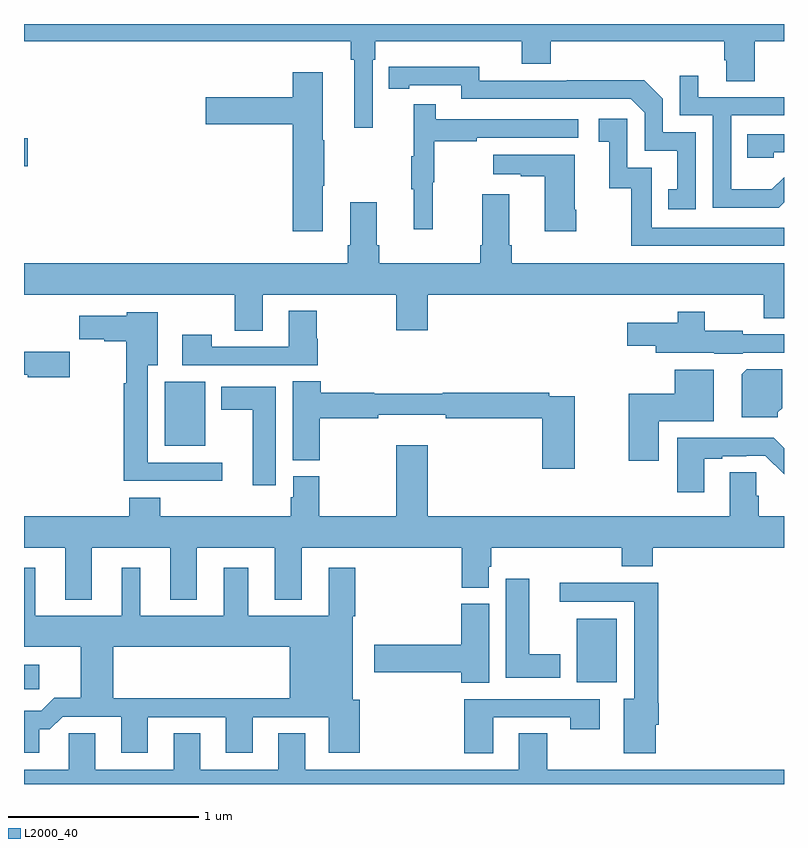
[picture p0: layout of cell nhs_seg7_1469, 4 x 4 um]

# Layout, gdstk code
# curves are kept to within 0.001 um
import gdstk
lib = gdstk.Library(unit=1e-6, precision=1e-09)
def R(c, l, rs):  # rectangles x0, y0, x1, y1
    for r in rs: c.add(gdstk.rectangle(r[:2], r[2:], *l))
def P(c, l, *ps):  # polygons
    for p in ps: c.add(gdstk.Polygon(p, *l))
L2000_40 = (2000, 40)

nhs_seg7_1469 = lib.new_cell('nhs_seg7_1469')
R(nhs_seg7_1469, L2000_40, [(211,1038.499,211.081,1038.628), (213.908,1038.536,214.12,1038.871), (211.742,1039.781,211.954,1040.116), (211,1041.251,211.021,1041.398)])
P(nhs_seg7_1469, L2000_40, [(212.835,1041.812),(212.849,1041.812),(212.849,1041.908),(213.62,1041.908),(213.62,1041.791),(213.773,1041.791),(213.773,1041.908),(214.685,1041.908),(214.685,1041.81),(214.697,1041.81),(214.697,1041.7),(214.845,1041.7),(214.845,1041.908),(215,1041.908),(215,1042),(211,1042),(211,1041.908),(212.719,1041.908),(212.719,1041.812),(212.738,1041.812),(212.738,1041.453),(212.835,1041.453)],
  [(214.536,1041.429),(214.362,1041.429),(214.362,1041.606),(214.264,1041.704),(213.856,1041.704),(213.856,1041.702),(213.396,1041.702),(213.396,1041.775),(212.92,1041.774),(212.92,1041.658),(213.028,1041.658),(213.028,1041.678),(213.3,1041.678),(213.3,1041.606),(214.194,1041.606),(214.266,1041.534),(214.266,1041.333),(214.439,1041.333),(214.439,1041.129),(214.39,1041.129),(214.39,1041.024),(214.536,1041.024)],
  [(212.572,1041.148),(212.58,1041.148),(212.58,1041.389),(212.572,1041.389),(212.572,1041.745),(212.414,1041.745),(212.414,1041.615),(211.956,1041.615),(211.956,1041.473),(212.414,1041.473),(212.414,1040.91),(212.572,1040.91)],
  [(215,1041.061),(215,1041.194),(214.936,1041.13),(214.722,1041.13),(214.722,1041.519),(215,1041.519),(215,1041.615),(214.549,1041.615),(214.549,1041.727),(214.452,1041.727),(214.452,1041.519),(214.626,1041.519),(214.626,1041.033),(214.972,1041.033)],
  [(213.152,1041.168),(213.16,1041.168),(213.16,1041.382),(213.383,1041.382),(213.383,1041.402),(213.916,1041.402),(213.916,1041.498),(213.167,1041.498),(213.167,1041.577),(213.05,1041.577),(213.05,1041.305),(213.039,1041.305),(213.039,1041.131),(213.05,1041.131),(213.05,1040.919),(213.152,1040.919)],
  [(215,1040.928),(214.305,1040.928),(214.305,1041.243),(214.176,1041.243),(214.176,1041.502),(214.026,1041.502),(214.026,1041.381),(214.079,1041.381),(214.079,1041.135),(214.197,1041.135),(214.197,1040.832),(215,1040.832)],
  [(214.947,1041.324),(215,1041.324),(215,1041.42),(214.807,1041.42),(214.807,1041.297),(214.947,1041.297)],
  [(213.906,1041.022),(213.898,1041.022),(213.898,1041.313),(213.471,1041.313),(213.471,1041.209),(213.614,1041.209),(213.614,1041.199),(213.74,1041.199),(213.74,1040.91),(213.906,1040.91)],
  [(213.553,1040.836),(213.553,1041.103),(213.413,1041.103),(213.413,1040.836),(213.401,1040.836),(213.401,1040.74),(212.87,1040.74),(212.87,1040.836),(212.857,1040.836),(212.857,1041.061),(212.717,1041.061),(212.717,1040.836),(212.705,1040.836),(212.705,1040.74),(211,1040.74),(211,1040.576),(212.11,1040.576),(212.11,1040.386),(212.257,1040.386),(212.257,1040.576),(212.96,1040.576),(212.96,1040.388),(213.124,1040.388),(213.124,1040.576),(214.894,1040.576),(214.894,1040.452),(215,1040.452),(215,1040.74),(213.566,1040.74),(213.566,1040.836)],
  [(212.546,1040.343),(212.541,1040.343),(212.541,1040.491),(212.393,1040.491),(212.393,1040.301),(211.989,1040.301),(211.989,1040.365),(211.833,1040.365),(211.833,1040.205),(212.546,1040.205)],
  [(214.782,1040.271),(215,1040.271),(215,1040.367),(214.782,1040.367),(214.782,1040.386),(214.582,1040.386),(214.582,1040.485),(214.441,1040.485),(214.441,1040.428),(214.176,1040.428),(214.176,1040.306),(214.325,1040.306),(214.325,1040.27),(214.632,1040.27),(214.632,1040.264),(214.782,1040.264)],
  [(212.044,1039.692),(211.651,1039.692),(211.651,1040.204),(211.705,1040.204),(211.705,1040.482),(211.542,1040.482),(211.542,1040.464),(211.292,1040.464),(211.292,1040.341),(211.422,1040.341),(211.422,1040.33),(211.538,1040.33),(211.538,1040.108),(211.526,1040.108),(211.526,1039.595),(212.044,1039.595)],
  [(211.24,1040.274),(211.13,1040.274),(211.13,1040.275),(211,1040.275),(211,1040.153),(211.02,1040.153),(211.02,1040.141),(211.24,1040.141)],
  [(214.968,1039.956),(214.99,1039.978),(214.99,1040.182),(214.804,1040.182),(214.778,1040.156),(214.778,1039.931),(214.968,1039.931)],
  [(214.342,1039.91),(214.63,1039.91),(214.63,1040.18),(214.424,1040.18),(214.424,1040.053),(214.184,1040.053),(214.184,1039.701),(214.342,1039.701)],
  [(213.898,1040.04),(213.764,1040.04),(213.764,1040.06),(213.204,1040.06),(213.204,1040.053),(212.844,1040.053),(212.844,1040.06),(212.561,1040.06),(212.561,1040.12),(212.414,1040.12),(212.414,1039.705),(212.556,1039.705),(212.556,1039.924),(212.864,1039.924),(212.864,1039.943),(213.22,1039.943),(213.22,1039.924),(213.728,1039.924),(213.728,1039.659),(213.898,1039.659)],
  [(212.326,1040.092),(212.039,1040.092),(212.039,1039.97),(212.204,1039.97),(212.204,1039.572),(212.326,1039.572)],
  [(214.579,1039.713),(214.675,1039.713),(214.675,1039.725),(214.802,1039.725),(214.802,1039.728),(214.902,1039.728),(215,1039.631),(215,1039.768),(214.946,1039.822),(214.439,1039.822),(214.439,1039.536),(214.579,1039.536)],
  [(211.357,1039.244),(211.769,1039.244),(211.769,1038.971),(211.909,1038.971),(211.909,1039.244),(212.321,1039.244),(212.321,1038.971),(212.461,1038.971),(212.461,1039.244),(213.305,1039.244),(213.305,1039.033),(213.445,1039.033),(213.445,1039.143),(213.458,1039.143),(213.458,1039.244),(214.145,1039.244),(214.145,1039.145),(214.31,1039.145),(214.31,1039.244),(215,1039.244),(215,1039.408),(214.868,1039.408),(214.868,1039.518),(214.854,1039.518),(214.854,1039.64),(214.715,1039.64),(214.715,1039.408),(213.124,1039.408),(213.124,1039.783),(212.96,1039.783),(212.96,1039.408),(212.553,1039.408),(212.553,1039.62),(212.417,1039.62),(212.417,1039.509),(212.405,1039.509),(212.405,1039.408),(211.718,1039.408),(211.718,1039.507),(211.553,1039.507),(211.553,1039.408),(211,1039.408),(211,1039.244),(211.217,1039.244),(211.217,1038.971),(211.357,1038.971)],
  [(211,1038.385),(211,1038.165),(211.081,1038.165),(211.081,1038.287),(211.136,1038.287),(211.203,1038.354),(211.511,1038.354),(211.511,1038.165),(211.651,1038.165),(211.651,1038.351),(212.063,1038.351),(212.063,1038.165),(212.203,1038.165),(212.203,1038.351),(212.603,1038.351),(212.603,1038.165),(212.768,1038.165),(212.768,1038.444),(212.731,1038.444),(212.731,1038.882),(212.744,1038.882),(212.744,1039.138),(212.603,1039.138),(212.603,1038.886),(212.179,1038.886),(212.179,1039.138),(212.051,1039.138),(212.051,1038.886),(211.612,1038.886),(211.612,1039.138),(211.514,1039.138),(211.514,1038.886),(211.06,1038.886),(211.06,1039.138),(211,1039.138),(211,1038.722),(211.298,1038.722),(211.298,1038.455),(211.16,1038.455),(211.157,1038.452),(211.469,1038.452),(211.469,1038.722),(212.399,1038.722),(212.399,1038.452),(211.157,1038.452),(211.09,1038.385)],
  [(213.823,1038.682),(213.658,1038.682),(213.658,1039.081),(213.536,1039.081),(213.536,1038.56),(213.823,1038.56)],
  [(214.324,1038.312),(214.342,1038.312),(214.342,1038.426),(214.337,1038.426),(214.337,1039.058),(213.819,1039.058),(213.819,1038.96),(214.211,1038.96),(214.211,1038.448),(214.157,1038.448),(214.157,1038.162),(214.324,1038.162)],
  [(213.448,1038.948),(213.302,1038.948),(213.302,1038.734),(212.844,1038.734),(212.844,1038.587),(213.302,1038.587),(213.302,1038.532),(213.448,1038.532)],
  [(213.469,1038.351),(213.874,1038.351),(213.874,1038.288),(214.03,1038.288),(214.03,1038.447),(213.317,1038.447),(213.317,1038.162),(213.469,1038.162)],
  [(215,1038.076),(213.753,1038.076),(213.753,1038.266),(213.605,1038.266),(213.605,1038.076),(212.479,1038.076),(212.479,1038.266),(212.339,1038.266),(212.339,1038.076),(211.927,1038.076),(211.927,1038.266),(211.787,1038.266),(211.787,1038.076),(211.375,1038.076),(211.375,1038.266),(211.236,1038.266),(211.236,1038.076),(211,1038.076),(211,1038),(215,1038)])

lib.write_gds('nhs_seg7_1469.gds')
